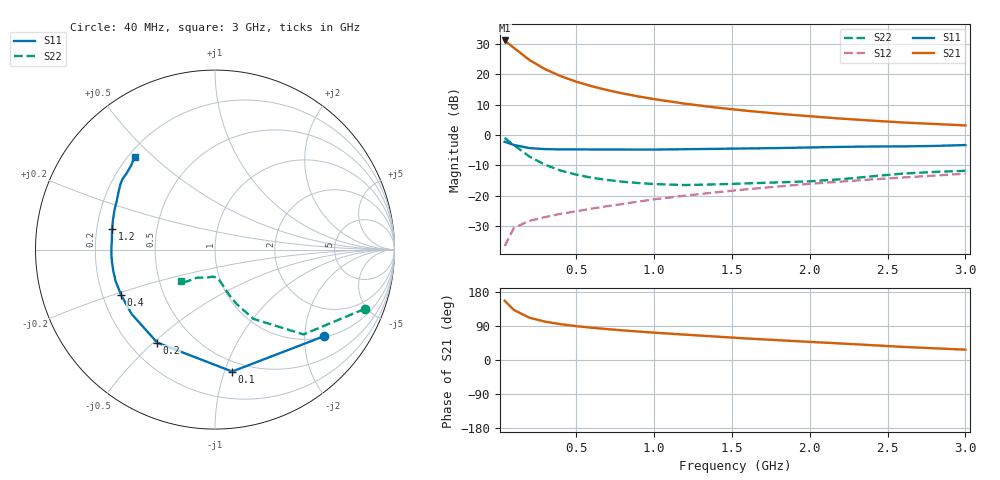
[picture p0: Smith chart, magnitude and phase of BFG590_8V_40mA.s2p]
! Filename:  BFG590L.S2P  Version:  4.0
! Philips part #: BFG590  Date: Jun 1994
! Bias condition: Vce=8V; Ic=40mA
#  MHz  S  MA  R  50
! Freq  S11  S21  S12  S22  !GUM [dB]
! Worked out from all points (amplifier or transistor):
!   21 points, 40 MHz to 3 GHz, reference 50 ohm
!   highest |S21| = 31.0 dB at 40 MHz (marker M1)
!   |S21| within 3 dB of that: start of sweep to 113.9 MHz
!   unconditionally stable (mu >= 1): 787.2 MHz to 2.484 GHz
!   at 300 MHz: K = 0.62, MSG = 24.3 dB, |S12| = -26.9 dB
!   at 1 GHz: K = 1.06, MAG = 15.0 dB, |S12| = -21.1 dB
!   at 3 GHz: K = 0.91, MSG = 7.9 dB, |S12| = -12.7 dB
!   S11 on the Smith chart (normalised r, x): 40 MHz: 1.03, -2.51; 100 MHz: 0.41, -1.06; 200 MHz: 0.31, -0.51; 400 MHz: 0.28, -0.21; 1.2 GHz: 0.26, +0.09; 3 GHz: 0.22, +0.44
40  0.777 -38.3  35.62 156.3  0.015 72.2  0.897 -21.6
100  0.686 -82.0  26.89 131.9  0.03 55.1  0.683 -43.8
200  0.61 -121.8  16.98 111.5  0.039 45.6  0.442 -60.9
300  0.587 -142.3  12.03 101.2  0.045 45.5  0.325 -68.5
400  0.581 -154.3  9.254 94.5  0.051 47.8  0.261 -72.8
500  0.581 -162.4  7.513 89.3  0.056 49.9  0.224 -75.8
600  0.579 -168.5  6.313 85.1  0.062 52.4  0.199 -78.1
700  0.578 -173.3  5.452 81.5  0.068 54.3  0.183 -80.3
800  0.578 -177.5  4.801 78.2  0.074 56.1  0.171 -82.3
900  0.577 178.6  4.294 75.1  0.081 57.6  0.163 -84.7
1000  0.577 175.1  3.885 72.2  0.088 58.5  0.157 -87.6
1200  0.585 168.5  3.263 66.9  0.101 60.0  0.151 -94.0
1400  0.593 163.2  2.823 61.8  0.115 61.0  0.155 -100.0
1600  0.602 158.4  2.491 56.7  0.129 60.9  0.161 -105.1
1800  0.611 153.7  2.236 52.2  0.143 61.1  0.167 -110.0
2000  0.625 149.4  2.033 47.8  0.158 60.8  0.174 -116.5
2200  0.639 145.8  1.86 43.6  0.172 60.3  0.188 -123.3
2400  0.648 142.7  1.722 39.1  0.187 59.3  0.21 -127.9
2600  0.651 139.1  1.605 34.6  0.201 57.8  0.233 -130.8
2800  0.662 134.8  1.52 30.9  0.216 56.8  0.248 -133.1
3000  0.685 130.8  1.437 27.3  0.232 55.4  0.259 -137.1
